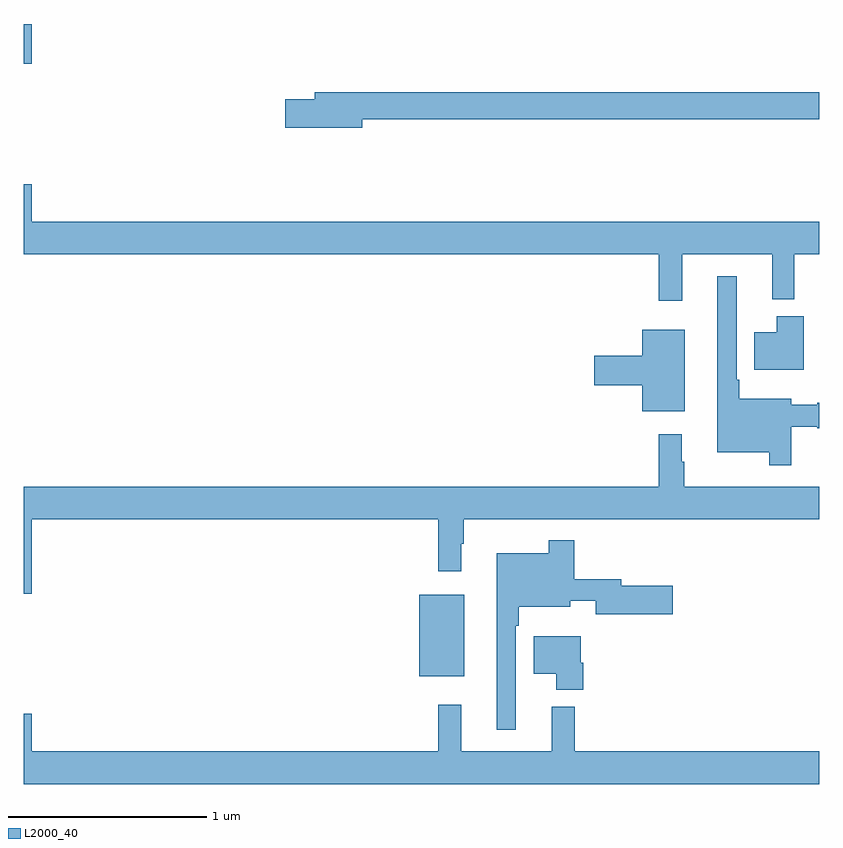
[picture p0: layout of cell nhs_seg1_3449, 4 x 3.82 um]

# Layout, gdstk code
import gdstk
lib = gdstk.Library(unit=1e-6, precision=1e-09)
def R(c, l, rs):  # rectangles x0, y0, x1, y1
    for r in rs: c.add(gdstk.rectangle(r[:2], r[2:], *l))
def P(c, l, *ps):  # polygons
    for p in ps: c.add(gdstk.Polygon(p, *l))
L2000_40 = (2000, 40)

nhs_seg1_3449 = lib.new_cell('nhs_seg1_3449')
R(nhs_seg1_3449, L2000_40, [(298.988,574.919,299.215,575.329), (297,577.998,297.04,578.199)])
P(nhs_seg1_3449, L2000_40, [(298.702,577.72),(301,577.72),(301,577.856),(298.463,577.856),(298.463,577.82),(298.314,577.82),(298.314,577.678),(298.702,577.678)],
  [(300.311,577.04),(300.764,577.04),(300.764,576.815),(300.874,576.815),(300.874,577.04),(301,577.04),(301,577.204),(297.04,577.204),(297.04,577.393),(297,577.393),(297,577.04),(300.193,577.04),(300.193,576.807),(300.311,576.807)],
  [(300.859,576.174),(300.99,576.174),(300.99,576.166),(301,576.166),(301,576.295),(300.99,576.295),(300.99,576.283),(300.859,576.283),(300.859,576.313),(300.598,576.313),(300.598,576.409),(300.585,576.409),(300.585,576.931),(300.488,576.931),(300.488,576.044),(300.75,576.044),(300.75,575.979),(300.859,575.979)],
  [(300.922,576.73),(300.788,576.73),(300.788,576.649),(300.674,576.649),(300.674,576.461),(300.922,576.461)],
  [(300.325,576.661),(300.11,576.661),(300.11,576.53),(299.868,576.53),(299.868,576.383),(300.11,576.383),(300.11,576.251),(300.325,576.251)],
  [(297.04,575.708),(299.083,575.708),(299.083,575.445),(299.2,575.445),(299.2,575.585),(299.212,575.585),(299.212,575.708),(301,575.708),(301,575.872),(300.322,575.872),(300.322,575.996),(300.31,575.996),(300.31,576.136),(300.193,576.136),(300.193,575.872),(297,575.872),(297,575.334),(297.04,575.334)],
  [(299.475,575.171),(299.488,575.171),(299.488,575.267),(299.749,575.267),(299.749,575.297),(299.876,575.297),(299.876,575.231),(300.265,575.231),(300.265,575.373),(300.004,575.373),(300.004,575.407),(299.768,575.407),(299.768,575.602),(299.64,575.602),(299.64,575.536),(299.378,575.536),(299.378,574.65),(299.475,574.65)],
  [(299.813,574.986),(299.8,574.986),(299.8,575.119),(299.564,575.119),(299.564,574.931),(299.678,574.931),(299.678,574.85),(299.813,574.85)],
  [(301,574.54),(299.771,574.54),(299.771,574.765),(299.654,574.765),(299.654,574.54),(299.201,574.54),(299.201,574.774),(299.083,574.774),(299.083,574.54),(297.04,574.54),(297.04,574.729),(297,574.729),(297,574.376),(301,574.376)])

lib.write_gds('nhs_seg1_3449.gds')
